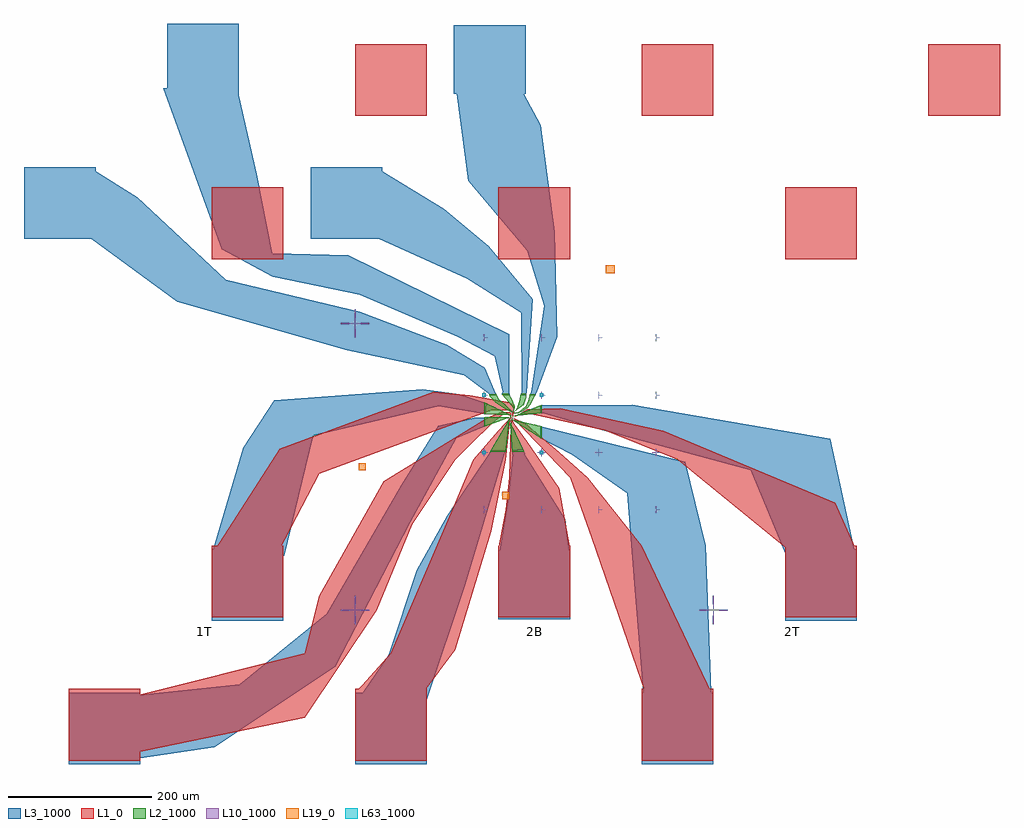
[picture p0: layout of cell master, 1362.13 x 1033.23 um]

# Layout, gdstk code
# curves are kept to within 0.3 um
from math import pi, radians
import gdstk
lib = gdstk.Library(unit=1e-6, precision=1e-09)
def R(c, l, rs):  # rectangles x0, y0, x1, y1
    for r in rs: c.add(gdstk.rectangle(r[:2], r[2:], *l))
def P(c, l, *ps):  # polygons
    for p in ps: c.add(gdstk.Polygon(p, *l))
L1_0 = (1, 0)
L2_1000 = (2, 1000)
L3_1000 = (3, 1000)
L10_1000 = (10, 1000)
L19_0 = (19, 0)
L63_1000 = (63, 1000)

cross = lib.new_cell('cross')
P(cross, L10_1000, [(-0.05,0.05),(-2,0.05),(-2,0.2),(-5,0.2),(-5,-0.2),(-2,-0.2),(-2,-0.05),(-0.05,-0.05),(-0.05,-2),(-0.2,-2),(-0.2,-5),(0.2,-5),(0.2,-2),(0.05,-2),(0.05,-0.05),(2,-0.05),(2,-0.2),(5,-0.2),(5,0.2),(2,0.2),(2,0.05),(0.05,0.05),(0.05,2),(0.2,2),(0.2,5),(-0.2,5),(-0.2,2),(-0.05,2)])

hallcontacts = lib.new_cell('hallcontacts')
R(hallcontacts, L1_0, [(-1.4,-1,-1,-0.5), (1,-1,1.4,-0.5), (-3,-0.5,-2.5,0.5), (2.5,-0.5,3,0.5), (-1.4,0.5,-1,1), (1,0.5,1.4,1)])

pad = lib.new_cell('pad')
R(pad, L1_0, [(-50,-50,50,50)])

master = lib.new_cell('master')
P(master, L1_0, [(71.05,-120.67),(71.3,-120.94),(77,-119),(93,-116),(200,-140),(300,-180),(452,-304),(548,-303),(520,-240),(280,-140),(136,-108),(90,-110)],
  [(71.4,-123.12),(150,-205),(180,-290),(255,-505),(348,-506),(250,-300),(175,-205),(135,-170),(88,-130),(72.05,-122.4)],
  [(69.64,-122.07),(68,-125.5),(67.5,-133),(65,-205),(60,-250),(50,-305),(150,-305),(135,-220),(90,-155),(72,-130),(69.5,-124),(69.9,-122.3)],
  [(67.96,-120.38),(50,-140),(15,-180),(-10,-240),(-100,-450),(-140,-495),(-150,-505),(-55,-505),(-10,-445),(40,-280),(60,-180),(65,-135),(66.5,-124),(68.22,-120.64)],
  [(67.86,-118.2),(66.2,-114.2),(54,-114),(36,-121),(-110,-210),(-200,-370),(-220,-450),(-460,-510),(-460,-590),(-220,-540),(-120,-390),(-70,-270),(-10,-180),(20,-150),(46,-125),(56,-117),(61,-117),(67.2,-118.9)],
  [(69.34,-118.98),(69.6,-119.25),(71.4,-116.2),(72.4,-105.6),(65,-100),(10,-90),(-40,-85),(-255,-165),(-345,-305),(-255,-305),(-200,-200),(41,-111),(68,-111)])
P(master, L2_1000, [(67.832,-123.961),(67.411,-124.868),(67.449,-124.885),(67.138,-125.632),(66.565,-132.191),(69.058,-169.312),(86.104,-169.312),(68.455,-131.779),(67.538,-126.526),(67.665,-124.985),(67.683,-124.994),(68.104,-124.087)],
  [(65.566,-122.906),(65.144,-123.813),(65.165,-123.823),(38.175,-169.533),(60.12,-169.154),(65.249,-125.321),(65.408,-123.936),(65.416,-123.94),(65.838,-123.033)],
  [(60.251,-120.501),(30.334,-121.05),(30.242,-134.041),(60.406,-122.94),(63.665,-122.022),(64.568,-122.442),(64.99,-121.536),(64.083,-121.114),(64.061,-121.159)],
  [(30.291,-99.662),(30.291,-116.623),(65.922,-118.349),(66.608,-119.288),(66.418,-121.097),(66.409,-121.093),(65.988,-122),(66.26,-122.126),(66.681,-121.219),(66.656,-121.207),(68.089,-117.903)],
  [(110.229,-103.557),(76.261,-117.064),(70.603,-118.709),(68.72,-122.167),(68.676,-122.147),(68.254,-123.054),(68.526,-123.181),(68.948,-122.274),(68.931,-122.266),(70.77,-119.479),(110.229,-115.373)],
  [(69.524,-123.645),(69.102,-124.551),(70.009,-124.973),(70.012,-124.965),(110.377,-150.914),(110.377,-133.32),(70.418,-124.09),(70.43,-124.066)],
  [(46.841,-88.217),(37.234,-88.469),(37.74,-91.503),(46.083,-100.604),(60.404,-109.565),(69.472,-114.441),(69.82,-113.506),(68.666,-113.083),(66.981,-111.39),(63.835,-107.345),(58.218,-101.868),(50.886,-96.306)],
  [(64.487,-88.269),(54.525,-88.269),(66.682,-102.284),(71.41,-109.038),(70.839,-113.719),(71.496,-112.449),(72.592,-106.168),(69.046,-96.205)],
  [(88.727,-88.209),(81.486,-88.209),(76.521,-107.45),(71.785,-114.122),(85.416,-103.105),(88.727,-92.761)],
  [(94.454,-88.162),(91.924,-97.775),(88.551,-105.028),(81.804,-111.268),(76.16,-114.558),(73.361,-114.875),(72.48,-114.538),(72.121,-115.471),(73.055,-115.83),(77.744,-115.452),(84.109,-112.392),(90.904,-107.617),(95.403,-102.476),(102.044,-88.499)])
P(master, L3_1000, [(-55.629,-82.043),(-263.092,-97.282),(-306.437,-163.744),(-348.29,-305),(-350,-305),(-350,-405),(-250,-405),(-250,-314.083),(-248.643,-314.008),(-208.187,-146.406),(-33.545,-105.717),(32.468,-116.467),(33.42,-101.43),(-4.257,-88.893)],
  [(31.904,-121.352),(16.575,-121.766),(-33.875,-132.88),(-85.89,-215.719),(-189.92,-394.882),(-311.288,-493.132),(-450,-508.127),(-450,-505),(-550,-505),(-550,-605),(-450,-605),(-450,-597.047),(-346.651,-581.737),(-177.596,-469.034),(-73.311,-267.169),(-8.696,-150.145),(31.904,-133.366)],
  [(108.488,-133.733),(108.611,-149.887),(152.786,-173.179),(229.858,-227.129),(239.492,-352.372),(252.211,-505),(250,-505),(250,-605),(350,-605),(350,-505),(347.06,-505),(339.686,-300.348),(310.784,-182.813)],
  [(-512.13,228.227),(-612.13,228.227),(-612.13,128.227),(-518.123,128.227),(-398.03,40.034),(-160.997,-27.415),(2.163,-62.102),(35.986,-87.289),(37.331,-88.858),(37.673,-90.795),(47.816,-90.339),(46.395,-87.891),(31.018,-51.574),(-22.13,-19.405),(-143.653,26.544),(-330.581,70.867),(-453.916,186.493),(-512.13,222.448)],
  [(-312.13,428.227),(-412.13,428.227),(-412.13,338.099),(-417.621,338.349),(-335.797,113.333),(-264.988,75.568),(-143.825,50.391),(-6.494,-8.204),(44.897,-35.613),(56.002,-85.319),(54.313,-88.516),(56.934,-90.909),(65.939,-90.453),(65.278,-84.872),(65.337,-4.707),(-159.486,105.281),(-265.334,107.848),(-287.364,217.995),(-312.533,328.227),(-312.13,328.227)],
  [(-112.13,228.227),(-212.13,228.227),(-212.13,128.227),(-117.374,128.227),(6.625,72.277),(82.159,25.068),(82.788,-86.202),(81.211,-89.883),(88.734,-90.339),(97.895,43.951),(36.524,117.912),(-26.422,169.842),(-112.13,222.695)],
  [(87.87,426.053),(-12.13,426.053),(-12.13,330.402),(-8.424,330.402),(7.632,208.977),(90.514,111.408),(113.595,34.821),(95.815,-86.008),(93.293,-90.339),(101.157,-90.567),(132.424,-8.698),(128.423,138.019),(109.398,286.613),(85.071,330.402),(87.87,330.402)],
  [(236.816,-103.144),(109.704,-104.283),(108.507,-104.454),(108.507,-115),(112.268,-115),(179.772,-135.025),(402.129,-194.81),(450,-310.324),(450,-405),(550,-405),(550,-305),(546.574,-305),(513.307,-150.758)],
  [(60.302,-166.148),(39.631,-166.68),(38.22,-170.631),(-21.194,-258.539),(-63.668,-334.047),(-102.995,-452.029),(-139.569,-505),(-150,-505),(-150,-605),(-50,-605),(-50,-514.88),(3.975,-354.498)],
  [(84.012,-164.856),(68.965,-166.3),(69.193,-172.684),(69.836,-172.651),(63.992,-233.697),(51.857,-307.174),(50,-307.174),(50,-402.825),(150,-402.825),(150,-307.174),(148.669,-307.174),(142.997,-263.062),(85.986,-171.844),(87.431,-171.772)])
R(master, L19_0, [(55,-235,65,-225), (-145,-195,-135,-185), (200,80,212,91)])
R(master, L63_1000, [(27.5,-172.5,32.5,-167.5), (107.5,-172.5,112.5,-167.5), (27.5,-92.5,32.5,-87.5), (107.5,-92.5,112.5,-87.5)])
master.add(gdstk.Reference(cross, (-150,10), magnification=4))
master.add(gdstk.Reference(cross, (350,-390), magnification=4))
master.add(gdstk.Reference(hallcontacts, (68.092,-123.545), rotation=radians(110.0523)))
master.add(gdstk.Reference(pad, (500,-350)))
master.add(gdstk.Reference(pad, (300,-550)))
master.add(gdstk.Reference(pad, (100,-350)))
master.add(gdstk.Reference(pad, (-100,-550)))
master.add(gdstk.Reference(pad, (-300,-350)))
r = gdstk.Reference(cross, (30,-250)); r.repetition = gdstk.Repetition(4, 4, v1=(80,0), v2=(0,80)); master.add(r)
master.add(gdstk.Reference(pad, (-500,-550)))
master.add(gdstk.Reference(pad, (-300,150)))
master.add(gdstk.Reference(pad, (-100,350)))
master.add(gdstk.Reference(pad, (100,150)))
master.add(gdstk.Reference(pad, (300,350)))
master.add(gdstk.Reference(pad, (500,150)))
master.add(gdstk.Reference(pad, (700,350)))
master.add(gdstk.Reference(cross, (-150,-390), magnification=4))
master.add(gdstk.Label('2B', (100,-420), layer=1, texttype=1000))
master.add(gdstk.Label('2T', (460,-420), layer=1, texttype=1000))
master.add(gdstk.Label('1B', (-140,-640), layer=1, texttype=1000))
master.add(gdstk.Label('1T', (-360,-420), layer=1, texttype=1000))
master.add(gdstk.Label('drain', (260,-660), layer=1, texttype=1000))
master.add(gdstk.Label('source', (-640,-660), layer=1, texttype=1000))

lib.write_gds('master.gds')
